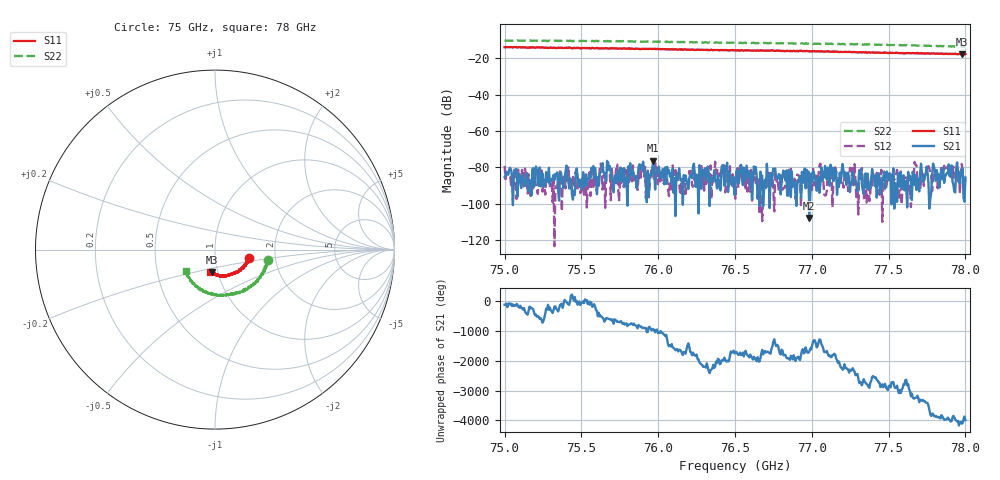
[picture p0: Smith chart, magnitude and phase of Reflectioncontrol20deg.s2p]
# Hz S MA R 50
! CMT, C4420, 21421029, 25.1.2/3
! Date: 8/7/2025 2:11:26 PM
! Data: Format (Calibration Info)
! Freq	S33:Mag/Ang(F2)	S43:Mag/Ang(F2)	S34:Mag/Ang(F2)	S44:Mag/Ang(F2)
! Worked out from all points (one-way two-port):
!   500 points, 75 GHz to 78 GHz, reference 50 ohm
!   highest |S21| = -76.26 dB at 75.968 GHz (marker M1); lowest = -107.7 dB at 76.984 GHz (marker M2)
!   lowest |S11| = -18.0 dB at 77.976 GHz (marker M3), VSWR 1.29, Z = 46.7 - j11.8 ohm
!   |S11| at or under -10 dB: start of sweep to end of sweep
!   |S22| runs from -14.0 to -10.4 dB; largest |S21 - S12| = 0.00016
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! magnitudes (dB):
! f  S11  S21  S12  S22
! 75 GHz  -14.1  -85.2  -79.1  -10.4
! 75.505 GHz  -14.5  -92.2  -85.9  -10.6
! 75.619 GHz  -14.7  -83.7  -80.6  -10.7
! 75.673 GHz  -14.8  -78.3  -76.1  -10.7
! 75.703 GHz  -14.6  -86.6  -87.7  -10.9
! 75.86 GHz  -14.9  -91.4  -84.7  -11.0
! 75.89 GHz  -15.0  -78.5  -81.8  -11.0
! 75.95 GHz  -14.9  -83.4  -85.5  -11.0
! 75.968 GHz  -15.0  -76.3  -84.7  -11.1
! 76.004 GHz  -15.1  -79.6  -79.5  -11.0
! 76.395 GHz  -15.6  -87.2  -89.8  -11.6
! 76.425 GHz  -15.7  -79.1  -77.3  -11.6
! 76.449 GHz  -15.7  -77.4  -84.1  -11.6
! 76.503 GHz  -15.8  -90.0  -97.1  -11.7
! 76.984 GHz  -16.3  -107.7  -86.7  -12.2
! 77.002 GHz  -16.3  -87.9  -92.3  -12.0
! 77.501 GHz  -17.3  -86.7  -83.7  -12.9
! 77.651 GHz  -17.4  -97.8  -87.2  -13.0
! 77.669 GHz  -17.3  -89.7  -76.9  -13.0
! 77.699 GHz  -17.4  -93.0  -93.5  -13.1
! 77.976 GHz  -18.0  -83.5  -78.1  -13.8
! 78 GHz  -17.8  -85.5  -85.5  -14.0
